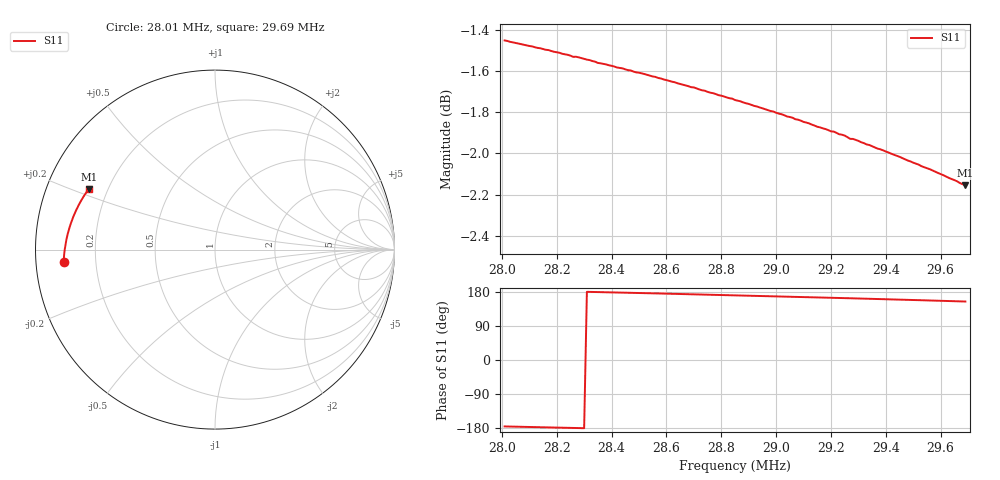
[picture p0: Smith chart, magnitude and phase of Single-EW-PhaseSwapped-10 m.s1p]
# HZ S RI R 50
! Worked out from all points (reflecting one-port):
!   169 points, 28.01 MHz to 29.69 MHz, reference 50 ohm
!   lowest |S11| = -2.2 dB at 29.69 MHz (marker M1), VSWR 8.10, Z = 6.49 + j11.2 ohm
!   phase of S11 starts at -175 deg and turns -30 deg over the sweep
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2.801e7  -0.8433 -0.0691
2.811004e7  -0.8421 -0.0461
2.817006e7  -0.841 -0.032
2.822008e7  -0.8396 -0.0203
2.832012e7  -0.8369 0.00362
2.835014e7  -0.8355 0.0109
2.843017e7  -0.8327 0.0299
2.856022e7  -0.8268 0.0612
2.864025e7  -0.8222 0.0806
2.870028e7  -0.8187 0.0952
2.874029e7  -0.816 0.105
2.884033e7  -0.8088 0.1294
2.885034e7  -0.8077 0.1318
2.893037e7  -0.8012 0.1516
2.899039e7  -0.796 0.1664
2.906042e7  -0.7893 0.1836
2.921048e7  -0.7732 0.2208
2.923049e7  -0.7705 0.2256
2.92505e7  -0.7684 0.2306
2.92705e7  -0.7655 0.2353
2.928051e7  -0.7647 0.2378
2.930052e7  -0.7622 0.2428
2.939055e7  -0.7503 0.265
2.945058e7  -0.7418 0.2798
2.948059e7  -0.7372 0.2871
2.956062e7  -0.7252 0.3066
2.965066e7  -0.7102 0.3286
2.969067e7  -0.7032 0.3381
